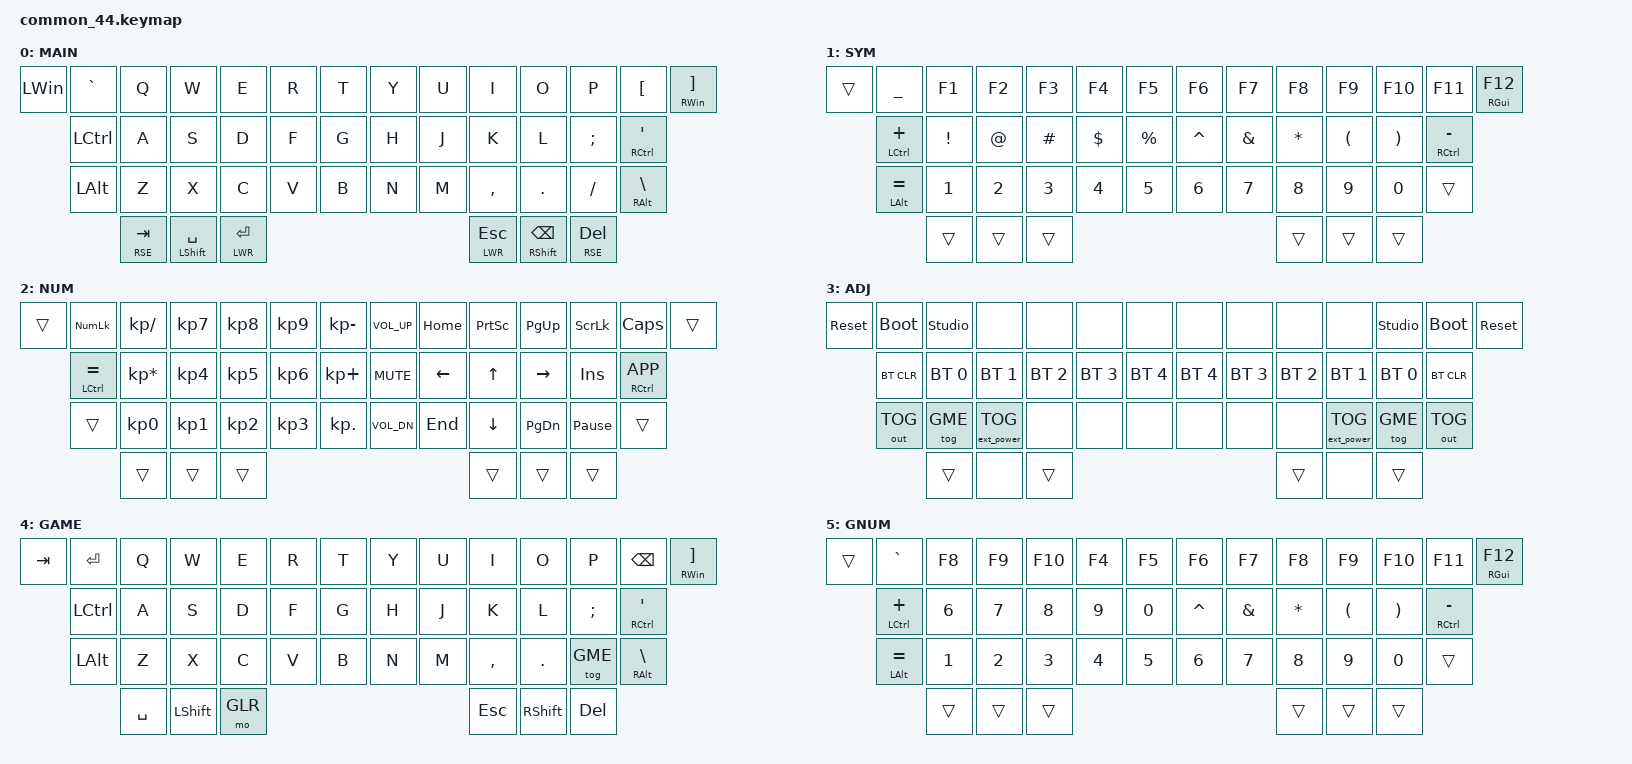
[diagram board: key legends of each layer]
/*
 * Copyright (c) 2020 The ZMK Contributors
 *
 * SPDX-License-Identifier: MIT
 */

#include <behaviors.dtsi>
#include <dt-bindings/zmk/keys.h>
#include <dt-bindings/zmk/bt.h>
#include <dt-bindings/zmk/ext_power.h>
#include <dt-bindings/zmk/outputs.h>

#define DEF 0
#define LWR 1
#define RSE 2
#define ADJ 3
#define GME 4
#define GLR 5

&lt { quick-tap-ms = <200>; };
&mt { quick-tap-ms = <200>; };

/ {
    conditional_layers {
        compatible = "zmk,conditional-layers";
        tri_layer {
            if-layers = <LWR RSE>;
            then-layer = <ADJ>;
        };
    };

        keymap {
                compatible = "zmk,keymap";

                default_layer {
                        display-name = "MAIN";
// -----------------------------------------------------------------------------------------
// |  GUI |   ~  |  Q  |  W  |  E  |  R  |  T  |   |  Y  |  U   |  I  |  O  |  P  |  [   | GUI/] |
//        | CTRL |  A  |  S  |  D  |  F  |  G  |   |  H  |  J   |  K  |  L  |  ;  |CTRL/'|
//        | LALT |  Z  |  X  |  C  |  V  |  B  |   |  N  |  M   |  ,  |  .  |  /  |RALT/\|
//                           | RSE | SPC | LWR |   | LWR | BSPC | RSE |
                        bindings = <
   &kp LWIN &kp GRAVE &kp Q &kp W &kp E &kp R &kp T &kp Y         &kp U  &kp I     &kp O   &kp P    &kp LBKT &mt RWIN RBKT
            &kp LCTRL &kp A &kp S &kp D &kp F &kp G &kp H         &kp J  &kp K     &kp L   &kp SEMI &mt RCTRL SQT
            &kp LALT  &kp Z &kp X &kp C &kp V &kp B &kp N         &kp M  &kp COMMA &kp DOT &kp FSLH &mt RALT BSLH
                  &lt RSE TAB &mt LSHFT SPACE &lt LWR RET         &lt LWR ESC &mt RSHFT BSPC &lt RSE DEL
                        >;
                };
                lower_layer {
                        display-name = "SYM";
// -----------------------------------------------------------------------------------------
// |     |  _  |  F1 |  F2 |  F3 |  F4 |  F5 |   |  F6 |  F7 |  F8 |  F9 | F10 | F11 | F12 |
//       |  +  |  !  |  @  |  #  |  $  |  %  |   |  ^  |  &  |  *  |  (  |  )  |  -  |
//       |  =  |  1  |  2  |  3  |  4  |  5  |   |  6  |  7  |  8  |  9  |  0  |     |
//                         | ADJ |     |     |   |     |     | ADJ |
                        bindings = <
   &trans &kp UNDER      &kp F1   &kp F2 &kp F3   &kp F4   &kp F5           &kp F6    &kp F7   &kp F8   &kp F9   &kp F10  &kp F11 &mt RGUI F12
          &mt LCTRL PLUS &kp EXCL &kp AT &kp HASH &kp DLLR &kp PRCNT        &kp CARET &kp AMPS &kp STAR &kp LPAR &kp RPAR &mt RCTRL MINUS
          &mt LALT EQUAL &kp N1   &kp N2 &kp N3   &kp N4   &kp N5           &kp N6    &kp N7   &kp N8   &kp N9   &kp N0   &trans
                                                &trans &trans &trans        &trans &trans &trans
                        >;
                };

                raise_layer {
                        display-name = "NUM";
// -----------------------------------------------------------------------------------------
// |     | NMLK |  /  |  7  |  8  |  9  |  -  |   | VOLU| HOME| PRSC| PGUP| SCLK| CLCK|     |
//       |CTRL/=|  *  |  4  |  5  |  6  |  +  |   | MUT | LEFT|  UP | RGHT| INS | APP |
//       |      |  0  |  1  |  2  |  3  |  .  |   | VOLD| END | DOWN| PGDN| PAUS|     |
//                          |     |     | ADJ |   | ADJ |     |     |
                        bindings = <
   &trans &kp KP_NUM      &kp KP_SLASH    &kp KP_N7 &kp KP_N8 &kp KP_N9 &kp KP_MINUS        &kp C_VOL_UP &kp HOME &kp PSCRN &kp PG_UP &kp SLCK &kp CAPS &trans
          &mt LCTRL EQUAL &kp KP_MULTIPLY &kp KP_N4 &kp KP_N5 &kp KP_N6 &kp KP_PLUS         &kp C_MUTE   &kp LEFT &kp UP    &kp RIGHT &kp INS  &mt RCTRL K_APP
          &trans          &kp KP_N0       &kp KP_N1 &kp KP_N2 &kp KP_N3 &kp KP_DOT          &kp C_VOL_DN &kp END  &kp DOWN  &kp PG_DN &kp PAUSE_BREAK &trans
                                                                &trans &trans &trans        &trans &trans &trans
                        >;
                };
                adjust_layer {
                        display-name = "ADJ";
// -----------------------------------------------------------------------------------------
// | RST | BLDR | STU |     |     |     |     |   |     |     |     |     | STU | BLDR | RST |
//       | BTCLR| BT0 | BT1 | BT2 | BT3 | BT4 |   | BT4 | BT3 | BT2 | BT1 | BT0 | BTCLR|
//       | OUT  |     |     |     |     |     |   |     |     |     |     |     | OUT  |
//                          |     |     |     |   |     |     |     |
                        bindings = <
   &sys_reset &bootloader  &studio_unlock &none             &none        &none        &none              &none        &none        &none        &none        &studio_unlock &bootloader &sys_reset
              &bt BT_CLR   &bt BT_SEL 0   &bt BT_SEL 1      &bt BT_SEL 2 &bt BT_SEL 3 &bt BT_SEL 4       &bt BT_SEL 4 &bt BT_SEL 3 &bt BT_SEL 2 &bt BT_SEL 1      &bt BT_SEL 0  &bt BT_CLR
              &out OUT_TOG &tog GME       &ext_power EP_TOG &none        &none        &none              &none        &none        &none        &ext_power EP_TOG &tog GME      &out OUT_TOG
                                                                               &trans &none &trans       &trans &none &trans
                        >;
                };
                gaming_layer {
                        label = "GAME";
// -----------------------------------------------------------------------------------------
// |  GUI |   ~  |  Q  |  W  |  E  |  R  |  T  |   |  Y  |  U   |  I  |  O  |  P  |  [   | GUI/] |
//        | CTRL |  A  |  S  |  D  |  F  |  G  |   |  H  |  J   |  K  |  L  |  ;  |CTRL/'|
//        | LALT |  Z  |  X  |  C  |  V  |  B  |   |  N  |  M   |  ,  |  .  |  /  | RALT |
//                           | RSE | SPC | LWR |   | LWR | BKSP | RSE |
                        bindings = <
   &kp TAB  &kp RET   &kp Q &kp W &kp E &kp R &kp T &kp Y         &kp U  &kp I     &kp O   &kp P    &kp BSPC &mt RWIN RBKT
            &kp LCTRL &kp A &kp S &kp D &kp F &kp G &kp H         &kp J  &kp K     &kp L   &kp SEMI &mt RCTRL SQT
            &kp LALT  &kp Z &kp X &kp C &kp V &kp B &kp N         &kp M  &kp COMMA &kp DOT &tog GME &mt RALT BSLH
                                  &kp SPACE &kp LSHFT &mo GLR &kp ESC &kp RSHFT &kp DEL
                        >;
                };
                gaming_lower_layer {
                        display-name = "GNUM";
// -----------------------------------------------------------------------------------------
// |     |  _  |  F1 |  F2 |  F3 |  F4 |  F5 |   |  F6 |  F7 |  F8 |  F9 | F10 | F11 | F12 |
//       |  +  |  !  |  @  |  #  |  $  |  %  |   |  ^  |  &  |  *  |  (  |  )  |  -  |
//       |  =  |  1  |  2  |  3  |  4  |  5  |   |  6  |  7  |  8  |  9  |  0  |     |
//                    | GUI |     | SPC |   | ENT |     | ALT |
                        bindings = <
   &trans &kp GRAVE      &kp F8   &kp F9 &kp F10  &kp F4   &kp F5           &kp F6    &kp F7   &kp F8   &kp F9   &kp F10  &kp F11 &mt RGUI F12
          &mt LCTRL PLUS &kp N6   &kp N7 &kp N8   &kp N9   &kp N0           &kp CARET &kp AMPS &kp STAR &kp LPAR &kp RPAR &mt RCTRL MINUS
          &mt LALT EQUAL &kp N1   &kp N2 &kp N3   &kp N4   &kp N5           &kp N6    &kp N7   &kp N8   &kp N9   &kp N0   &trans
                                                 &trans &trans &trans   &trans &trans &trans
                        >;
                };
        };
};
